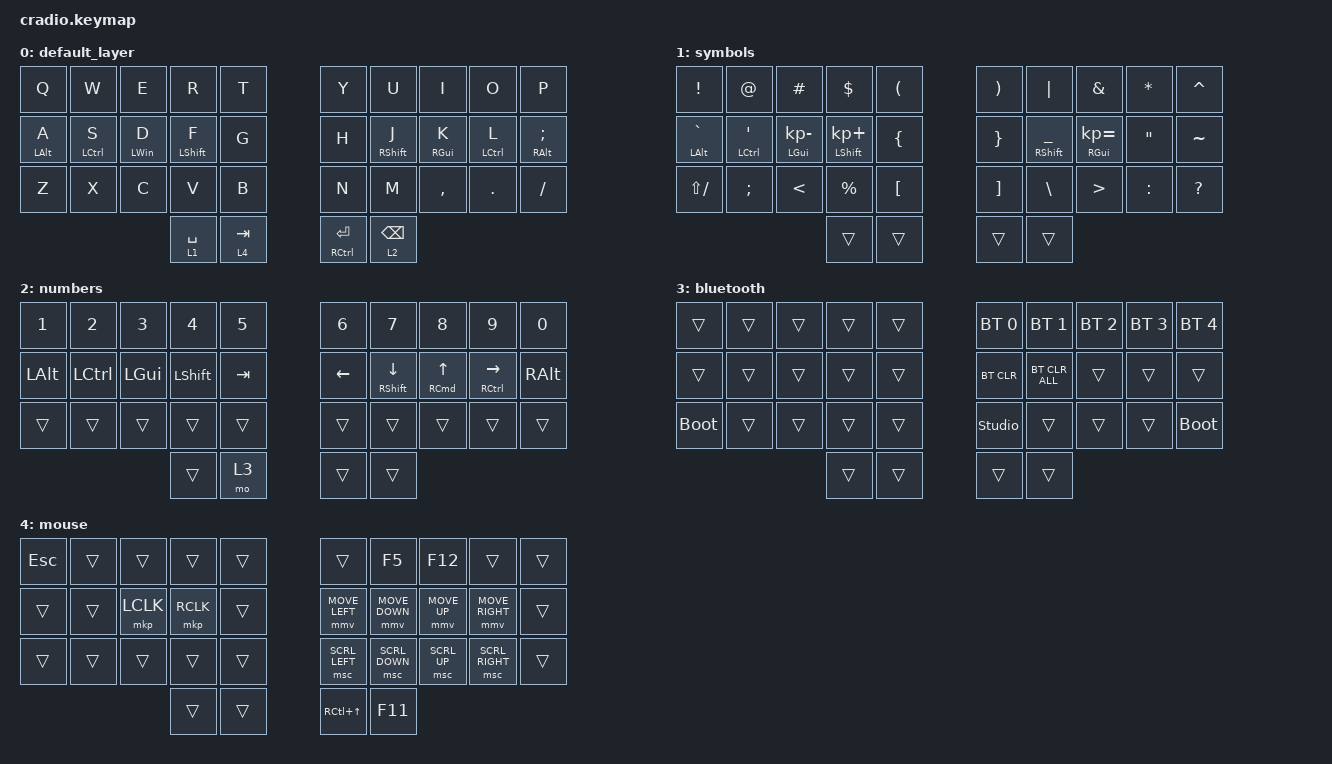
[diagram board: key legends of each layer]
/*
 * Copyright (c) 2022 The ZMK Contributors
 * SPDX-License-Identifier: MIT
 */
#define ZMK_POINTING_DEFAULT_MOVE_VAL 1600
#define ZMK_POINTING_DEFAULT_SCRL_VAL 50

#include <dt-bindings/zmk/mouse.h>
#include <behaviors.dtsi>
#include <behaviors/mouse_keys.dtsi>
#include <dt-bindings/zmk/bt.h>
#include <dt-bindings/zmk/keys.h>
#include <dt-bindings/zmk/pointing.h>

#define U_TAPPING_TERM 200


// Using layer taps on thumbs, having quick tap as well helps w/ repeating space/backspace

&mt {
    tapping-term-ms = <U_TAPPING_TERM>;
    quick-tap-ms = <U_TAPPING_TERM>;
    flavor = "tap-preferred";
};

&lt {
    tapping-term-ms = <U_TAPPING_TERM>;
    quick-tap-ms = <U_TAPPING_TERM>;
    flavor = "tap-preferred";
};

/ {
    behaviors {
        hrm_right: hrm_right {
            compatible = "zmk,behavior-hold-tap";
            label = "Homerow Mods Right";
            bindings = <&kp>, <&kp>;

            #binding-cells = <2>;
            tapping-term-ms =<U_TAPPING_TERM>;
            quick-tap-ms = <U_TAPPING_TERM>;
            flavor = "tap-preferred";
            hold-trigger-key-positions = <0 1 2 3 4 10 11 12 13 14 20 21 22 23 24 30 31>;
        };

        hrm_left: hrm_left {
            compatible = "zmk,behavior-hold-tap";
            label = "Homerow Mods Left";
            bindings = <&kp>, <&kp>;

            #binding-cells = <2>;
            tapping-term-ms = <U_TAPPING_TERM>;
            quick-tap-ms = <U_TAPPING_TERM>;
            flavor = "tap-preferred";
            hold-trigger-key-positions = <5 6 7 8 9 15 16 17 18 19 25 26 27 28 29 32 33>;
        };

        tapdance_q_esc: tapdance_q_esc {
            compatible = "zmk,behavior-tap-dance";
            label = "TAPDANCE_Q_ESC";
            #binding-cells = <0>;
            tapping-term-ms = <200>;
            bindings = <&kp Q>, <&kp ESC>;
        };
    };

    keymap {
        compatible = "zmk,keymap";

        default_layer {
            bindings = <
  &kp Q                 &kp W              &kp E                 &kp R              &kp T        &kp Y            &kp U               &kp I              &kp O               &kp P
  &hrm_left LEFT_ALT A  &hrm_left LCTRL S  &hrm_left LEFT_WIN D  &hrm_left LSHFT F  &kp G        &kp H            &hrm_right RSHFT J  &hrm_right RGUI K  &hrm_right LCTRL L  &hrm_right RALT SEMICOLON
  &kp Z                 &kp X              &kp C                 &kp V              &kp B        &kp N            &kp M               &kp COMMA          &kp DOT             &kp FSLH
                                                                 &lt 1 SPACE        &lt 4 TAB    &mt RCTRL ENTER  &lt 2 BSPC
            >;
        };

        symbols {
            bindings = <
  &kp EXCL                  &kp AT                        &kp POUND                    &kp DOLLAR                    &kp LEFT_PARENTHESIS    &kp RIGHT_PARENTHESIS  &kp PIPE                 &kp AMPERSAND                  &kp ASTERISK       &kp CARET
  &hrm_left LEFT_ALT GRAVE  &hrm_left LCTRL SINGLE_QUOTE  &hrm_left LEFT_GUI KP_MINUS  &hrm_left LEFT_SHIFT KP_PLUS  &kp LEFT_BRACE          &kp RIGHT_BRACE        &hrm_right RSHIFT UNDER  &hrm_right RIGHT_GUI KP_EQUAL  &kp DOUBLE_QUOTES  &kp TILDE
  &kp LS(SLASH)             &kp SEMI                      &kp LT                       &kp PERCENT                   &kp LEFT_BRACKET        &kp RIGHT_BRACKET      &kp BACKSLASH            &kp GT                         &kp COLON          &kp QUESTION
                                                                                       &trans                        &trans                  &trans                 &trans
            >;
        };

        numbers {
            bindings = <
  &kp N1    &kp N2     &kp N3    &kp N4     &kp N5      &kp N6    &kp N7                       &kp N8                       &kp N9                  &kp N0
  &kp LALT  &kp LCTRL  &kp LGUI  &kp LSHFT  &kp TAB     &kp LEFT  &hrm_right RIGHT_SHIFT DOWN  &hrm_right RIGHT_COMMAND UP  &hrm_right RCTRL RIGHT  &kp RIGHT_ALT
  &trans    &trans     &trans    &trans     &trans      &trans    &trans                       &trans                       &trans                  &trans
                                 &trans     &mo 3       &trans    &trans
            >;
        };

        bluetooth {
            bindings = <
  &trans       &trans  &trans  &trans  &trans    &bt BT_SEL 0     &bt BT_SEL 1    &bt BT_SEL 2  &bt BT_SEL 3  &bt BT_SEL 4
  &trans       &trans  &trans  &trans  &trans    &bt BT_CLR       &bt BT_CLR_ALL  &trans        &trans        &trans
  &bootloader  &trans  &trans  &trans  &trans    &studio_unlock   &trans          &trans        &trans        &bootloader
                          &trans  &trans    &trans           &trans
            >;
        };

        mouse {
            bindings = <
  &kp ESC &trans  &trans     &trans      &trans    &trans            &kp F5          &kp F12       &trans           &trans
  &trans  &trans  &mkp LCLK  &mkp RCLK   &trans    &mmv MOVE_LEFT    &mmv MOVE_DOWN  &mmv MOVE_UP  &mmv MOVE_RIGHT  &trans
  &trans  &trans  &trans     &trans      &trans    &msc SCRL_LEFT    &msc SCRL_DOWN  &msc SCRL_UP  &msc SCRL_RIGHT  &trans
                             &trans      &trans    &kp RC(UP_ARROW)  &kp F11
            >;
        };
    };
};
